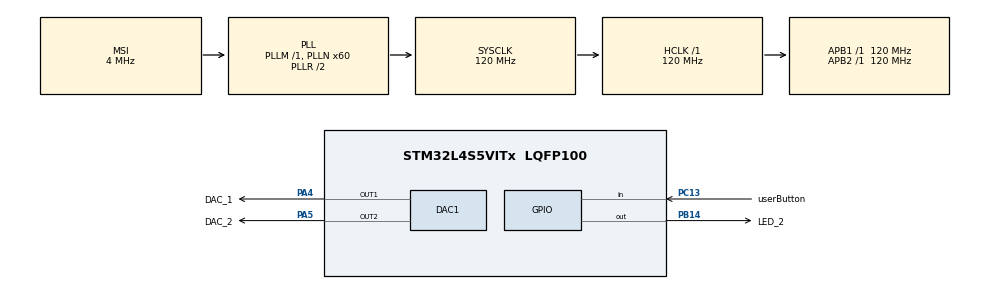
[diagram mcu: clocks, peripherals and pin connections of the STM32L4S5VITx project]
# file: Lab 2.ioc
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ADC1.Channel-1\#ChannelRegularConversion=ADC_CHANNEL_TEMPSENSOR
ADC1.ContinuousConvMode=ENABLE
ADC1.NbrOfConversion=1
ADC1.NbrOfConversionFlag=1
ADC1.OffsetNumber-1\#ChannelRegularConversion=ADC_OFFSET_NONE
ADC1.Rank-1\#ChannelRegularConversion=1
ADC1.SamplingTime-1\#ChannelRegularConversion=ADC_SAMPLETIME_640CYCLES_5
ADC1.master=1
DAC1.DAC_Channel-DAC_OUT2=DAC_CHANNEL_2
Mcu.Family=STM32L4
Mcu.Name=STM32L4S5VITx
Mcu.Package=LQFP100
NVIC.PriorityGroup=NVIC_PRIORITYGROUP_4
NVIC.TIM2_IRQn=true\:0\:0\:false\:false\:true\:true\:true\:true
PA13\ (JTMS/SWDIO).Signal=SYS_JTMS-SWDIO
PA4.GPIO_Label=DAC_1
PA4.Signal=COMP_DAC11_group
PA5.GPIO_Label=DAC_2
PA5.Signal=COMP_DAC12_group
PB14.GPIO_Label=LED_2
PB14.Signal=GPIO_Output
PB3\ (JTDO/TRACESWO).Signal=SYS_JTDO-SWO
PC13.GPIO_Label=userButton
PC13.Signal=GPIO_Input
ProjectManager.HeapSize=0x200
ProjectManager.StackSize=0x400
ProjectManager.TargetToolchain=STM32CubeIDE
RCC.ADCFreq_Value=80000000
RCC.AHBFreq_Value=120000000
RCC.APB1Freq_Value=120000000
RCC.APB1TimFreq_Value=120000000
RCC.APB2Freq_Value=120000000
RCC.APB2TimFreq_Value=120000000
RCC.CortexFreq_Value=120000000
RCC.HCLKFreq_Value=120000000
RCC.HSE_VALUE=8000000
RCC.HSI48_VALUE=48000000
RCC.HSI_VALUE=16000000
RCC.LSE_VALUE=32768
RCC.MSI_VALUE=4000000
RCC.PLLN=60
RCC.PLLSAI1N=40
RCC.SYSCLKFreq_VALUE=120000000
RCC.SYSCLKSource=RCC_SYSCLKSOURCE_PLLCLK
RCC.USBFreq_Value=80000000
RCC.VCOOutputFreq_Value=240000000
SH.COMP_DAC11_group.0=DAC1_OUT1,DAC_OUT1
SH.COMP_DAC12_group.0=DAC1_OUT2,DAC_OUT2
TIM2.Period=6
TIM2.Prescaler=5000
VP_ADC1_TempSens_Input.Mode=IN-TempSens
VP_ADC1_Vref_Input.Mode=IN-Vrefint
VP_TIM2_VS_ClockSourceINT.Mode=Internal
board=custom

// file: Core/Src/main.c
/* USER CODE BEGIN Header */
/**
  ******************************************************************************
  * @file           : main.c
  * @brief          : Main program body
  ******************************************************************************
  * @attention
  *
  * Copyright (c) 2023 STMicroelectronics.
  * All rights reserved.
  *
  * This software is licensed under terms that can be found in the LICENSE file
  * in the root directory of this software component.
  * If no LICENSE file comes with this software, it is provided AS-IS.
  *
  ******************************************************************************
  */
/* USER CODE END Header */
#include "main.h"

/* USER CODE BEGIN Includes */
#define ARM_MATH_CM4
#include "arm_math.h"

/* USER CODE END Includes */

/* USER CODE BEGIN PD */
#define ITM_Port32(n) (*((volatile unsigned long *) (0xE0000000+4*n)))

/* memory address from datasheet */
#define VREFINT ((uint16_t*)((uint32_t) 0x1FFF75AA))
#define TS_CAL1 ((uint16_t*)((uint32_t) 0x1FFF75A8))
#define TS_CAL2 ((uint16_t*)((uint32_t) 0x1FFF75CA))
/* USER CODE END PD */

/* USER CODE BEGIN PM */

#define TS_CAL1_TEMP 30
#define TS_CAL2_TEMP 130

/* USER CODE END PM */

ADC_HandleTypeDef hadc1;

DAC_HandleTypeDef hdac1;

TIM_HandleTypeDef htim2;

/* USER CODE BEGIN PV */

//Variable for each wave
uint32_t triangleValue, sawValue, sineValue, temperatureValue = 0;

float x, temperatureMeasured = 0;

int isIncreasing, soundCounter, timer = 0;

/* USER CODE END PV */

void SystemClock_Config(void);
static void MX_GPIO_Init(void);
static void MX_DAC1_Init(void);
static void MX_ADC1_Init(void);
static void MX_TIM2_Init(void);

/* USER CODE BEGIN 0 */

/* ADC Voltage Initialization */
void ADC_Voltage_Init(){
	// ADC for voltage by using polling
	  ADC_ChannelConfTypeDef sConfig = {0};
	  sConfig.Channel = ADC_CHANNEL_VREFINT;
	  sConfig.SamplingTime = ADC_SAMPLETIME_640CYCLES_5;
	  sConfig.Rank = ADC_REGULAR_RANK_1;

	  if (HAL_ADC_ConfigChannel(&hadc1, &sConfig) != HAL_OK){
		  Error_Handler();
	  }

}

//ADC_SAMPLETIME_640CYCLES_5
//ADC_SAMPLETIME_247CYCLES_5
/* ADC Temperature Initialization */
void ADC_Temperature_Init(){
	ADC_ChannelConfTypeDef sConfig = {0};
	sConfig.Channel = ADC_CHANNEL_TEMPSENSOR;
	sConfig.SamplingTime = ADC_SAMPLETIME_640CYCLES_5;
	sConfig.Rank = ADC_REGULAR_RANK_1;

	if (HAL_ADC_ConfigChannel(&hadc1, &sConfig) != HAL_OK){
		Error_Handler();
	}

}
/* Retrieve ADC Value from channel selected */
uint32_t getADCValue(){
	HAL_ADC_Start(&hadc1); // Activates ADC peripheral and starts conversion

	if (HAL_ADC_PollForConversion(&hadc1, HAL_MAX_DELAY) != HAL_OK){ // Waits for ADC conversion to be done
		  Error_Handler();
	}

	uint32_t ADC_value = HAL_ADC_GetValue(&hadc1); // Retrieve the converted value
	HAL_ADC_Stop(&hadc1); // Stops conversion and disables the ADC peripherals

	return ADC_value;
}

/*
 * Formula found in the Chip Document p
*/
float Voltage_Conversion(uint32_t raw_ADC_voltage_value){

	return 3000 * (*VREFINT)/ raw_ADC_voltage_value;
}

/*
 * Formula found in the Chip Document p
*/
float Temperature_Conversion(uint32_t raw_ADC_temperature_value, float VREF){

	float ts_data = raw_ADC_temperature_value * VREF/3000;

	return (TS_CAL2_TEMP - TS_CAL1_TEMP)/ ((float)*TS_CAL2 - (float)*TS_CAL1) * ((float)ts_data - (float)*TS_CAL1) + 30;
}

/* USER CODE END 0 */

int main(void)
{

  /* MCU Configuration--------------------------------------------------------*/

  /* Reset of all peripherals, Initializes the Flash interface and the Systick. */
  HAL_Init();

  /* Configure the system clock */
  SystemClock_Config();

  /* Initialize all configured peripherals */
  MX_GPIO_Init();
  MX_DAC1_Init();
  MX_ADC1_Init();
  MX_TIM2_Init();
  /* USER CODE BEGIN 2 */

  //Flag for state of button
  GPIO_PinState buttonState;

  //Variable to check which state we're in, to check if the button has been pressed once
  int flag, passedBy = 0;

  //Variable at program boot
  int initialState = 1;

  //The output for the DAC
  uint16_t outputFrequency = 0;

  //Launch the DAC channels
  HAL_DAC_Start(&hdac1, DAC_CHANNEL_1);
  HAL_DAC_Start(&hdac1, DAC_CHANNEL_2);

  //Launch the timer
  HAL_TIM_Base_Start_IT(&htim2);

  //Start with the LED off
  HAL_GPIO_WritePin(LED_2_GPIO_Port, LED_2_Pin, GPIO_PIN_RESET);

  /* USER CODE END 2 */

  /* Infinite loop */
  while (1)
  {

    /* USER CODE BEGIN 3 */

	  //Get state of button
	  buttonState =  HAL_GPIO_ReadPin(userButton_GPIO_Port, userButton_Pin);

	  //Check if the button has been pressed
  	  while(!buttonState){

  		  //Switch states
  		  if(!passedBy){
  			  flag = !flag;
  			  //We pressed the button once, hence we switched states, so don't switch again (this is because sometimes one press can
  			  //be registered as two or more presses.
  			  passedBy = 1;
  		  }

  		  initialState = 0;
  		  buttonState = HAL_GPIO_ReadPin(userButton_GPIO_Port, userButton_Pin);

  	  }

  	  //Change back the flag to 0
  	  passedBy = 0;

  	    //Check which state we're in

	    //If we just started the program, play a dull sound
	  	  if(initialState){

	  		  outputFrequency = sawValue;

	    //If we pressed the button, cycle through sound waves
	  	  }else if(!flag){

	  		//Set the LED to Off
	  		HAL_GPIO_WritePin(LED_2_GPIO_Port, LED_2_Pin, GPIO_PIN_RESET);

	  		//Switch between sounds every second
			if(soundCounter == 0){

						outputFrequency = sineValue;
			}

			else if(soundCounter == 1){
						outputFrequency = sawValue;
			}

			else if(soundCounter == 2){
						outputFrequency = triangleValue;

			}

		//If we pressed the button again, change to temperature value
	  	  }else{

		  //Set the LED to On
		  HAL_GPIO_WritePin(LED_2_GPIO_Port, LED_2_Pin, GPIO_PIN_SET);

		  //Get measure temperature value
		  ADC_Temperature_Init();
		  uint32_t raw_ADC_temperature_value = getADCValue(); // Retrieve the converted value

		  //Get voltage reference value
		  ADC_Voltage_Init();
		  uint32_t raw_ADC_voltage_value = getADCValue(); // Retrieve the converted value

		  float VREF = Voltage_Conversion(raw_ADC_voltage_value);

		  temperatureMeasured = Temperature_Conversion(raw_ADC_temperature_value, VREF);

		  float temp = temperatureMeasured;

		  outputFrequency = temperatureValue;
  		 }

  	HAL_DAC_SetValue(&hdac1, DAC_CHANNEL_1, DAC_ALIGN_12B_R, outputFrequency);
	HAL_DAC_SetValue(&hdac1, DAC_CHANNEL_2, DAC_ALIGN_12B_R, outputFrequency);

  }
  /* USER CODE END 3 */
}

void SystemClock_Config(void)
{
  RCC_OscInitTypeDef RCC_OscInitStruct = {0};
  RCC_ClkInitTypeDef RCC_ClkInitStruct = {0};

  /** Configure the main internal regulator output voltage
  */
  if (HAL_PWREx_ControlVoltageScaling(PWR_REGULATOR_VOLTAGE_SCALE1_BOOST) != HAL_OK)
  {
    Error_Handler();
  }

  /** Initializes the RCC Oscillators according to the specified parameters
  * in the RCC_OscInitTypeDef structure.
  */
  RCC_OscInitStruct.OscillatorType = RCC_OSCILLATORTYPE_MSI;
  RCC_OscInitStruct.MSIState = RCC_MSI_ON;
  RCC_OscInitStruct.MSICalibrationValue = 0;
  RCC_OscInitStruct.MSIClockRange = RCC_MSIRANGE_6;
  RCC_OscInitStruct.PLL.PLLState = RCC_PLL_ON;
  RCC_OscInitStruct.PLL.PLLSource = RCC_PLLSOURCE_MSI;
  RCC_OscInitStruct.PLL.PLLM = 1;
  RCC_OscInitStruct.PLL.PLLN = 60;
  RCC_OscInitStruct.PLL.PLLP = RCC_PLLP_DIV2;
  RCC_OscInitStruct.PLL.PLLQ = RCC_PLLQ_DIV2;
  RCC_OscInitStruct.PLL.PLLR = RCC_PLLR_DIV2;
  if (HAL_RCC_OscConfig(&RCC_OscInitStruct) != HAL_OK)
  {
    Error_Handler();
  }

  /** Initializes the CPU, AHB and APB buses clocks
  */
  RCC_ClkInitStruct.ClockType = RCC_CLOCKTYPE_HCLK|RCC_CLOCKTYPE_SYSCLK
                              |RCC_CLOCKTYPE_PCLK1|RCC_CLOCKTYPE_PCLK2;
  RCC_ClkInitStruct.SYSCLKSource = RCC_SYSCLKSOURCE_PLLCLK;
  RCC_ClkInitStruct.AHBCLKDivider = RCC_SYSCLK_DIV1;
  RCC_ClkInitStruct.APB1CLKDivider = RCC_HCLK_DIV1;
  RCC_ClkInitStruct.APB2CLKDivider = RCC_HCLK_DIV1;

  if (HAL_RCC_ClockConfig(&RCC_ClkInitStruct, FLASH_LATENCY_5) != HAL_OK)
  {
    Error_Handler();
  }
}

static void MX_ADC1_Init(void)
{

  ADC_ChannelConfTypeDef sConfig = {0};

  /** Common config
  */
  hadc1.Instance = ADC1;
  hadc1.Init.ClockPrescaler = ADC_CLOCK_ASYNC_DIV1;
  hadc1.Init.Resolution = ADC_RESOLUTION_12B;
  hadc1.Init.DataAlign = ADC_DATAALIGN_RIGHT;
  hadc1.Init.ScanConvMode = ADC_SCAN_DISABLE;
  hadc1.Init.EOCSelection = ADC_EOC_SINGLE_CONV;
  hadc1.Init.LowPowerAutoWait = DISABLE;
  hadc1.Init.ContinuousConvMode = ENABLE;
  hadc1.Init.NbrOfConversion = 1;
  hadc1.Init.DiscontinuousConvMode = DISABLE;
  hadc1.Init.ExternalTrigConv = ADC_SOFTWARE_START;
  hadc1.Init.ExternalTrigConvEdge = ADC_EXTERNALTRIGCONVEDGE_NONE;
  hadc1.Init.DMAContinuousRequests = DISABLE;
  hadc1.Init.Overrun = ADC_OVR_DATA_PRESERVED;
  hadc1.Init.OversamplingMode = DISABLE;
  if (HAL_ADC_Init(&hadc1) != HAL_OK)
  {
    Error_Handler();
  }

  /** Configure Regular Channel
  */
  sConfig.Channel = ADC_CHANNEL_TEMPSENSOR;
  sConfig.Rank = ADC_REGULAR_RANK_1;
  sConfig.SamplingTime = ADC_SAMPLETIME_640CYCLES_5;
  sConfig.SingleDiff = ADC_SINGLE_ENDED;
  sConfig.OffsetNumber = ADC_OFFSET_NONE;
  sConfig.Offset = 0;
  if (HAL_ADC_ConfigChannel(&hadc1, &sConfig) != HAL_OK)
  {
    Error_Handler();
  }

}

static void MX_DAC1_Init(void)
{

  DAC_ChannelConfTypeDef sConfig = {0};

  /** DAC Initialization
  */
  hdac1.Instance = DAC1;
  if (HAL_DAC_Init(&hdac1) != HAL_OK)
  {
    Error_Handler();
  }

  /** DAC channel OUT1 config
  */
  sConfig.DAC_SampleAndHold = DAC_SAMPLEANDHOLD_DISABLE;
  sConfig.DAC_Trigger = DAC_TRIGGER_NONE;
  sConfig.DAC_HighFrequency = DAC_HIGH_FREQUENCY_INTERFACE_MODE_ABOVE_80MHZ;
  sConfig.DAC_OutputBuffer = DAC_OUTPUTBUFFER_ENABLE;
  sConfig.DAC_ConnectOnChipPeripheral = DAC_CHIPCONNECT_DISABLE;
  sConfig.DAC_UserTrimming = DAC_TRIMMING_FACTORY;
  if (HAL_DAC_ConfigChannel(&hdac1, &sConfig, DAC_CHANNEL_1) != HAL_OK)
  {
    Error_Handler();
  }

  /** DAC channel OUT2 config
  */
  if (HAL_DAC_ConfigChannel(&hdac1, &sConfig, DAC_CHANNEL_2) != HAL_OK)
  {
    Error_Handler();
  }

}

static void MX_TIM2_Init(void)
{

  TIM_ClockConfigTypeDef sClockSourceConfig = {0};
  TIM_MasterConfigTypeDef sMasterConfig = {0};

  htim2.Instance = TIM2;
  htim2.Init.Prescaler = 5000;
  htim2.Init.CounterMode = TIM_COUNTERMODE_UP;
  htim2.Init.Period = 6;
  htim2.Init.ClockDivision = TIM_CLOCKDIVISION_DIV1;
  htim2.Init.AutoReloadPreload = TIM_AUTORELOAD_PRELOAD_DISABLE;
  if (HAL_TIM_Base_Init(&htim2) != HAL_OK)
  {
    Error_Handler();
  }
  sClockSourceConfig.ClockSource = TIM_CLOCKSOURCE_INTERNAL;
  if (HAL_TIM_ConfigClockSource(&htim2, &sClockSourceConfig) != HAL_OK)
  {
    Error_Handler();
  }
  sMasterConfig.MasterOutputTrigger = TIM_TRGO_RESET;
  sMasterConfig.MasterSlaveMode = TIM_MASTERSLAVEMODE_DISABLE;
  if (HAL_TIMEx_MasterConfigSynchronization(&htim2, &sMasterConfig) != HAL_OK)
  {
    Error_Handler();
  }

}

static void MX_GPIO_Init(void)
{
  GPIO_InitTypeDef GPIO_InitStruct = {0};

  /* GPIO Ports Clock Enable */
  __HAL_RCC_GPIOC_CLK_ENABLE();
  __HAL_RCC_GPIOA_CLK_ENABLE();
  __HAL_RCC_GPIOB_CLK_ENABLE();

  /*Configure GPIO pin Output Level */
  HAL_GPIO_WritePin(LED_2_GPIO_Port, LED_2_Pin, GPIO_PIN_RESET);

  /*Configure GPIO pin : userButton_Pin */
  GPIO_InitStruct.Pin = userButton_Pin;
  GPIO_InitStruct.Mode = GPIO_MODE_INPUT;
  GPIO_InitStruct.Pull = GPIO_NOPULL;
  HAL_GPIO_Init(userButton_GPIO_Port, &GPIO_InitStruct);

  /*Configure GPIO pin : LED_2_Pin */
  GPIO_InitStruct.Pin = LED_2_Pin;
  GPIO_InitStruct.Mode = GPIO_MODE_OUTPUT_PP;
  GPIO_InitStruct.Pull = GPIO_NOPULL;
  GPIO_InitStruct.Speed = GPIO_SPEED_FREQ_LOW;
  HAL_GPIO_Init(LED_2_GPIO_Port, &GPIO_InitStruct);

}

/* USER CODE BEGIN 4 */

/*
 * The timer interrupts every ~0.29ms when i checked with ITM_Port (I tried to get a clock cycle of 0.25ms)
 * The period is 4 ms, which is why the step is 16
 */
void HAL_TIM_PeriodElapsedCallback(TIM_HandleTypeDef *htim){

	//Debugging
	//ITM_Port32(31) = timer;

	//Get Triangle Value
	//I'm stopping at 4088 because it's the max int before getting to 4095 using integer division (4095/8 = 511.875 => 511)
	if(isIncreasing == 0){
		if(triangleValue < 4088) {
			triangleValue+= 4095/8;
		}else{
			isIncreasing = 1;
			}
	}else{
		if(triangleValue > 0) {
			triangleValue-= 4095/8;
		}else {
			isIncreasing = 0;
		}
	}

	//Get Saw Value
	//I'm stopping at 4080 because it's the max int before getting to 4095 using integer division (4095/16 = 255.9375 => 255)
	if(sawValue < 4080){
		sawValue+=4095/16;
	}else{
		sawValue = 0;
	}

	//Get Sine Value
	float twopi = 6.28319;
	float period = 16.0;

	x += twopi/period;

	float sin_wave = arm_sin_f32(x);

	if(x >= twopi){
		x -= twopi;
	}

	sineValue = (uint16_t)((sin_wave * 2048) + 2048);

	//Get temperature dependent SawFunction
	if(temperatureValue < 4095){
		temperatureValue+=4095/(temperatureMeasured);
	}else{
		temperatureValue = 0;
	}

	//Keep a counter
	timer++;

	//When we get to one second, reset the timer counter (T = 29 ms, 1s ~ 3500*29ms)
	if(timer == 3500){
		timer = 0;
		soundCounter++;
	}

	//When 3 seconds has elapsed, reset the cycle counter
	if(soundCounter == 3){
		soundCounter = 0;
	}

}

/* USER CODE END 4 */

void Error_Handler(void)
{
  __disable_irq();
  while (1)
  {
  }
}
